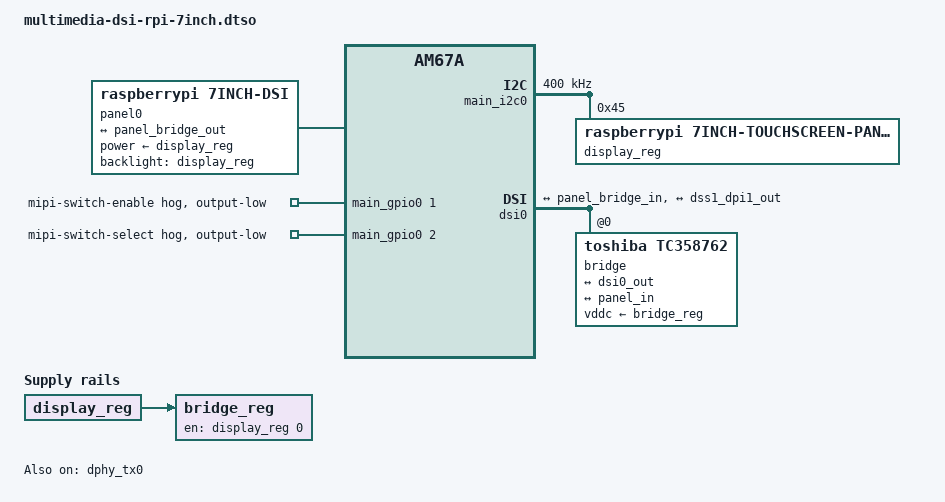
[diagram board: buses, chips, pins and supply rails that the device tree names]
// SPDX-License-Identifier: GPL-2.0
/**
 * DT Overlay for RPi 7inch touchscreen panel interfaced with DSI on
 *
 * RPi DSI Panel: https://www.raspberrypi.com/products/raspberry-pi-touch-display/
 *
 * Copyright (C) 2023 Texas Instruments Incorporated - https://www.ti.com/
 */

/dts-v1/;
/plugin/;

/ { compatible = "beagle,am67a-beagley-ai"; };

#include <dt-bindings/gpio/gpio.h>
#include <arm64/ti/k3-pinctrl.h>
#include <dt-bindings/interrupt-controller/irq.h>


&{/} {

	panel0 {
		compatible = "raspberrypi,7inch-dsi", "simple-panel";
		backlight = <&display_reg>;
		power-supply = <&display_reg>;

		port {
			panel_in: endpoint {
				remote-endpoint = <&panel_bridge_out>;
			};
		};
	};

	bridge_reg: bridge-regulator {
		compatible = "regulator-fixed";
		regulator-name = "bridge-reg";
		gpio = <&display_reg 0 0>;
		vin-supply = <&display_reg>;
		enable-active-high;
	};
};

&dphy_tx0 {
	status = "okay";
};

&main_i2c0 {
	#address-cells = <1>;
	#size-cells = <0>;

	display_reg: regulator@45 {
		compatible = "raspberrypi,7inch-touchscreen-panel-regulator";
		reg = <0x45>;
		gpio-controller;
		#gpio-cells = <2>;
	};
};

&dsi0 {
	status = "okay";
	#address-cells = <1>;
	#size-cells = <0>;

	ports {
		#address-cells = <1>;
		#size-cells = <0>;

		port@0 {
			reg = <0>;
			dsi0_out: endpoint {
				remote-endpoint = <&panel_bridge_in>;
			};
		};

		port@1 {
			reg = <1>;
			dsi0_in: endpoint {
				remote-endpoint = <&dss1_dpi1_out>;
			};
		};
	};

	bridge@0 {
		status = "okay";
		compatible = "toshiba,tc358762";
		reg = <0>;
		vddc-supply = <&bridge_reg>;

		ports {
			#address-cells = <1>;
			#size-cells = <0>;

			port@0 {
				reg = <0>;
				panel_bridge_in: endpoint {
					remote-endpoint = <&dsi0_out>;
				};
			};

			port@1 {
				reg = <1>;
				panel_bridge_out: endpoint {
					remote-endpoint = <&panel_in>;
				};
			};
		};
	};
};

&dss1_ports {
	#address-cells = <1>;
	#size-cells = <0>;

	/* DSS1-VP2: DSI Output */
	port@1 {
		reg = <1>;
		dss1_dpi1_out: endpoint {
			remote-endpoint = <&dsi0_in>;
		};
	};
};

&main_i2c0 {
 status = "okay";
 pinctrl-names = "default";
 pinctrl-0 = <&main_i2c0_pins_default>;
 clock-frequency = <400000>;
};


/* Board mux wiring from BeagleBoard ac5c6fe561c328dc989be8c9e45c31ad775abba9.
 * GPIO hogs hold the selected function for the lifetime of this profile.
 */
&main_pmx0 {
 mipi_switch_pins: mipi-switch-pins {
  pinctrl-single,pins = <
   J722S_IOPAD(0x0004, PIN_OUTPUT, 7)
   J722S_IOPAD(0x0008, PIN_OUTPUT, 7)
  >;
 };
};
&main_gpio0 {
 pinctrl-names = "default";
 pinctrl-0 = <&mipi_switch_pins>;
 mipi-enable-hog {
  gpio-hog;
  gpios = <1 GPIO_ACTIVE_HIGH>;
  output-low;
  line-name = "mipi-switch-enable";
 };
 mipi-select-hog {
  gpio-hog;
  gpios = <2 GPIO_ACTIVE_HIGH>;
  output-low;
  line-name = "mipi-switch-select";
 };
};
